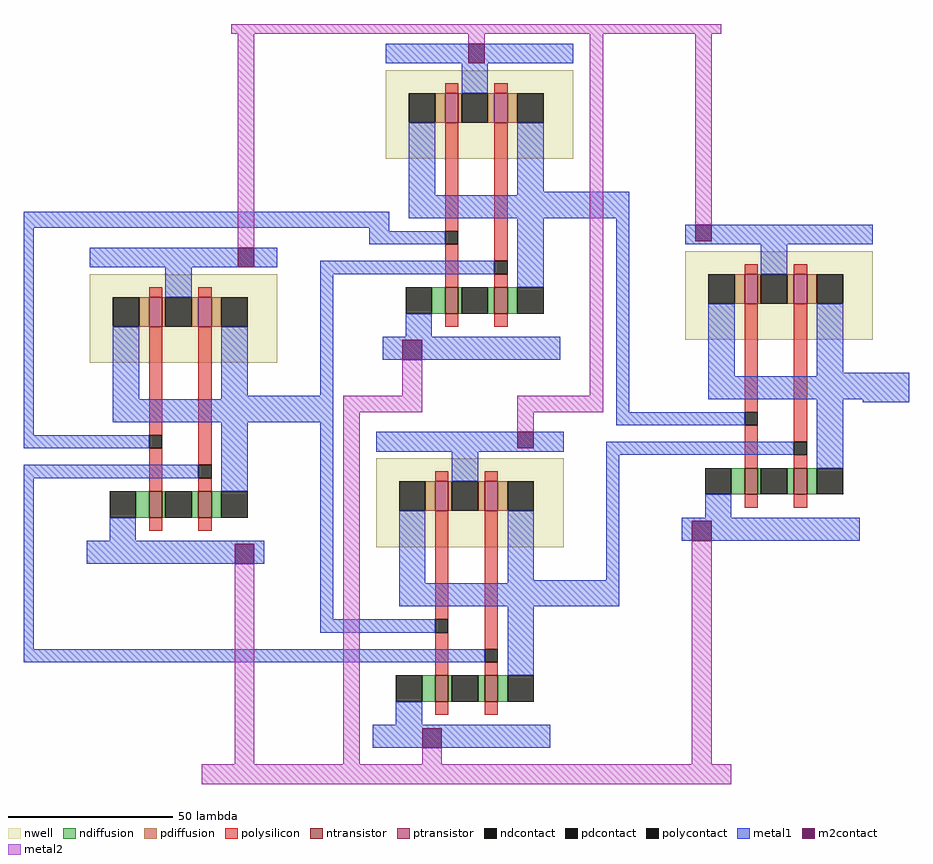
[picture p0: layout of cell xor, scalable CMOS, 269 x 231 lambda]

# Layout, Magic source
magic
tech scmos
<< metal1 >>
rect -22 117 89 122
rect 144 120 162 128
rect -22 54 -19 117
rect 83 112 89 117
rect 68 103 90 107
rect 68 66 72 103
rect 51 58 72 66
rect -22 50 15 54
rect -22 41 -1 45
rect -22 -11 -19 41
rect 68 -2 72 58
rect 158 61 162 120
rect 233 64 247 73
rect 158 57 180 61
rect 155 48 178 52
rect 155 10 159 48
rect 140 2 159 10
rect 68 -6 84 -2
rect -22 -15 85 -11
<< m2contact >>
rect 113 167 118 173
rect 43 105 48 111
rect 93 77 99 83
rect 42 15 48 21
rect 182 113 187 118
rect 128 50 133 55
rect 181 22 187 28
rect 99 -41 105 -35
<< metal2 >>
rect 41 176 190 179
rect 43 111 48 176
rect 113 173 118 176
rect 93 66 99 77
rect 150 66 154 176
rect 182 118 187 176
rect 75 61 99 66
rect 128 61 154 66
rect 42 -46 48 15
rect 75 -46 80 61
rect 128 55 133 61
rect 99 -46 105 -41
rect 181 -46 187 22
rect 32 -52 193 -46
use nand  nand_0
transform 1 0 25 0 1 79
box -28 -64 30 32
use nand  nand_1
transform 1 0 115 0 1 141
box -28 -64 30 32
use nand  nand_2
transform 1 0 112 0 1 23
box -28 -64 30 32
use nand  nand_3
transform 1 0 206 0 1 86
box -28 -64 30 32
<< end >>

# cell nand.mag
magic
tech scmos
<< nwell >>
rect -27 -3 30 24
<< ntransistor >>
rect -9 -50 -5 -42
rect 6 -50 10 -42
<< ptransistor >>
rect -9 8 -5 17
rect 6 8 10 17
<< ndiffusion >>
rect -13 -50 -9 -42
rect -5 -50 -4 -42
rect 4 -50 6 -42
rect 10 -50 13 -42
<< pdiffusion >>
rect -12 8 -9 17
rect -5 8 -4 17
rect 4 8 6 17
rect 10 8 13 17
<< ndcontact >>
rect -21 -50 -13 -42
rect -4 -50 4 -42
rect 13 -50 21 -42
<< pdcontact >>
rect -20 8 -12 17
rect -4 8 4 17
rect 13 8 21 17
<< polysilicon >>
rect -9 17 -5 20
rect 6 17 10 20
rect -9 -25 -5 8
rect -9 -42 -5 -29
rect 6 -34 10 8
rect 6 -42 10 -38
rect -9 -54 -5 -50
rect 6 -54 10 -50
<< polycontact >>
rect -9 -29 -5 -25
rect 6 -38 10 -34
<< metal1 >>
rect -27 26 30 32
rect -4 17 4 26
rect -20 -14 -12 8
rect 13 -13 21 8
rect 13 -14 30 -13
rect -20 -21 30 -14
rect -28 -29 -9 -25
rect -28 -38 6 -34
rect 13 -42 21 -21
rect -21 -57 -13 -50
rect -28 -64 26 -57
<< end >>
